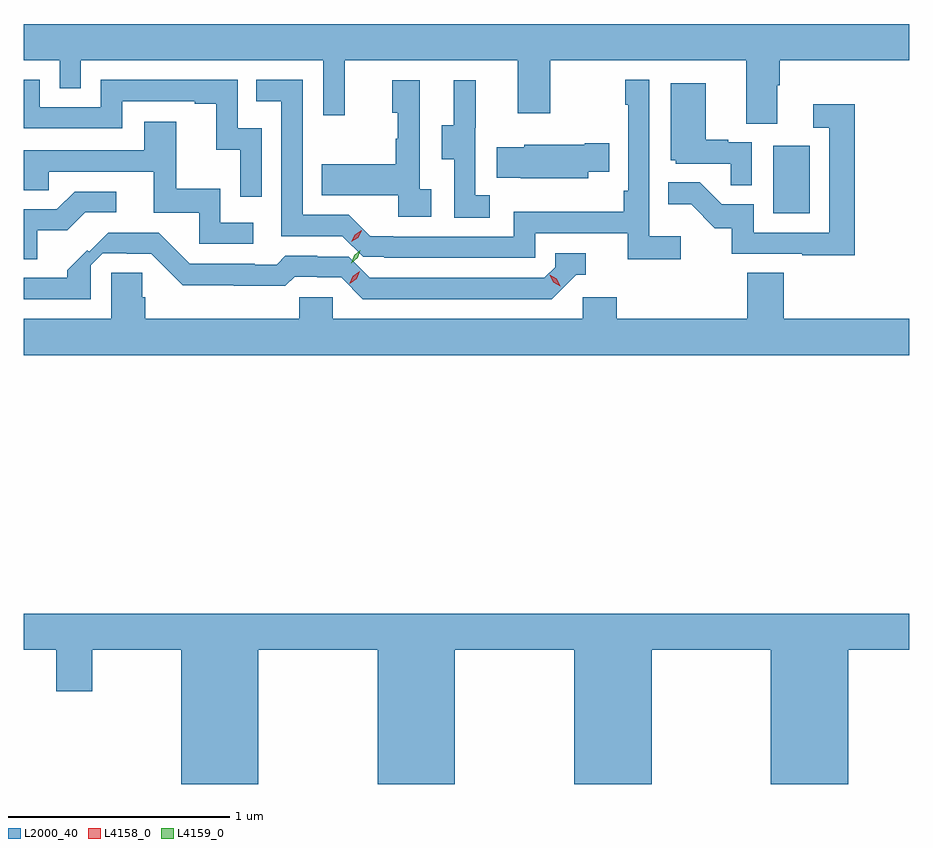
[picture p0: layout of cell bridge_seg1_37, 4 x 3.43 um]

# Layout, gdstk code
import gdstk
lib = gdstk.Library(unit=1e-6, precision=1e-09)
def R(c, l, rs):  # rectangles x0, y0, x1, y1
    for r in rs: c.add(gdstk.rectangle(r[:2], r[2:], *l))
def P(c, l, *ps):  # polygons
    for p in ps: c.add(gdstk.Polygon(p, *l))
L2000_40 = (2000, 40)
L4158_0 = (4158, 0)
L4159_0 = (4159, 0)

bridge_seg1_37 = lib.new_cell('bridge_seg1_37')
R(bridge_seg1_37, L2000_40, [(1139.942,504.42,1140.106,504.727)])
P(bridge_seg1_37, L2000_40, [(1139.959,505),(1139.972,505),(1139.972,505.112),(1140.556,505.112),(1140.556,505.276),(1136.556,505.276),(1136.556,505.112),(1136.718,505.112),(1136.718,504.985),(1136.814,504.985),(1136.814,505.112),(1137.909,505.112),(1137.909,504.864),(1138.007,504.864),(1138.007,505.112),(1138.787,505.112),(1138.787,504.873),(1138.935,504.873),(1138.935,505.112),(1139.819,505.112),(1139.819,504.826),(1139.959,504.826)],
  [(1139.524,504.316),(1139.382,504.316),(1139.382,505.024),(1139.274,505.024),(1139.274,504.911),(1139.286,504.911),(1139.286,504.523),(1139.266,504.523),(1139.266,504.427),(1138.77,504.427),(1138.77,504.315),(1138.226,504.315),(1138.226,504.317),(1138.12,504.317),(1138.023,504.414),(1137.816,504.414),(1137.816,505.023),(1137.607,505.023),(1137.607,504.927),(1137.72,504.927),(1137.72,504.318),(1137.995,504.318),(1138.089,504.224),(1138.185,504.224),(1138.185,504.219),(1138.866,504.219),(1138.866,504.33),(1139.285,504.33),(1139.285,504.214),(1139.524,504.214)],
  [(1137.63,504.804),(1137.522,504.804),(1137.522,505.023),(1136.904,505.023),(1136.904,504.9),(1136.628,504.9),(1136.628,505.023),(1136.556,505.023),(1136.556,504.804),(1137,504.804),(1137,504.927),(1137.329,504.927),(1137.329,504.915),(1137.425,504.915),(1137.425,504.707),(1137.534,504.707),(1137.534,504.495),(1137.63,504.495)],
  [(1138.396,504.53),(1138.344,504.53),(1138.344,505.021),(1138.22,505.021),(1138.22,504.876),(1138.246,504.876),(1138.246,504.758),(1138.236,504.758),(1138.236,504.643),(1137.901,504.643),(1137.901,504.503),(1138.247,504.503),(1138.247,504.404),(1138.396,504.404)],
  [(1138.66,504.503),(1138.596,504.503),(1138.596,504.807),(1138.598,504.807),(1138.598,505.021),(1138.499,505.021),(1138.499,504.819),(1138.445,504.819),(1138.445,504.664),(1138.5,504.664),(1138.5,504.4),(1138.66,504.4)],
  [(1139.844,504.741),(1139.738,504.741),(1139.738,504.754),(1139.638,504.754),(1139.638,505.009),(1139.48,505.009),(1139.48,504.66),(1139.502,504.66),(1139.502,504.645),(1139.749,504.645),(1139.749,504.547),(1139.844,504.547)],
  [(1140.311,504.913),(1140.123,504.913),(1140.123,504.807),(1140.195,504.807),(1140.195,504.333),(1139.853,504.333),(1139.853,504.462),(1139.709,504.462),(1139.611,504.56),(1139.467,504.56),(1139.467,504.461),(1139.571,504.461),(1139.678,504.354),(1139.755,504.354),(1139.755,504.237),(1140.073,504.237),(1140.073,504.232),(1140.311,504.232)],
  [(1137.592,504.378),(1137.444,504.378),(1137.444,504.532),(1137.245,504.532),(1137.245,504.835),(1137.101,504.835),(1137.101,504.705),(1136.556,504.705),(1136.556,504.525),(1136.669,504.525),(1136.669,504.609),(1137.143,504.609),(1137.143,504.423),(1137.348,504.423),(1137.348,504.282),(1137.592,504.282)],
  [(1139.107,504.608),(1139.201,504.608),(1139.201,504.738),(1139.09,504.738),(1139.09,504.73),(1138.818,504.73),(1138.818,504.718),(1138.693,504.718),(1138.693,504.581),(1138.801,504.581),(1138.801,504.578),(1139.107,504.578)],
  [(1136.617,504.344),(1136.751,504.344),(1136.833,504.426),(1136.974,504.426),(1136.974,504.519),(1136.786,504.519),(1136.705,504.438),(1136.556,504.438),(1136.556,504.214),(1136.617,504.214)],
  [(1136.859,504.186),(1136.913,504.24),(1137.021,504.24),(1137.021,504.237),(1137.132,504.237),(1137.274,504.095),(1137.504,504.095),(1137.504,504.093),(1137.737,504.093),(1137.779,504.135),(1137.882,504.135),(1137.882,504.132),(1137.989,504.132),(1138.088,504.033),(1138.941,504.033),(1139.052,504.144),(1139.095,504.144),(1139.095,504.24),(1138.956,504.24),(1138.956,504.177),(1138.908,504.129),(1138.119,504.129),(1138.023,504.224),(1137.882,504.224),(1137.882,504.228),(1137.737,504.228),(1137.698,504.189),(1137.599,504.189),(1137.599,504.192),(1137.306,504.192),(1137.165,504.333),(1136.938,504.333),(1136.851,504.246),(1136.842,504.254),(1136.751,504.163),(1136.751,504.129),(1136.556,504.129),(1136.556,504.033),(1136.859,504.033)],
  [(1140.556,503.944),(1139.99,503.944),(1139.99,504.152),(1139.825,504.152),(1139.825,503.944),(1139.234,503.944),(1139.234,504.042),(1139.082,504.042),(1139.082,503.944),(1137.951,503.944),(1137.951,504.042),(1137.801,504.042),(1137.801,503.944),(1137.104,503.944),(1137.104,504.042),(1137.09,504.042),(1137.09,504.152),(1136.951,504.152),(1136.951,503.944),(1136.556,503.944),(1136.556,503.78),(1140.556,503.78)],
  [(1137.616,502.448),(1138.154,502.448),(1138.154,501.842),(1138.504,501.842),(1138.504,502.448),(1139.042,502.448),(1139.042,501.842),(1139.392,501.842),(1139.392,502.448),(1139.93,502.448),(1139.93,501.842),(1140.28,501.842),(1140.28,502.448),(1140.556,502.448),(1140.556,502.612),(1136.556,502.612),(1136.556,502.448),(1136.702,502.448),(1136.702,502.26),(1136.866,502.26),(1136.866,502.448),(1137.266,502.448),(1137.266,501.842),(1137.616,501.842)])
P(bridge_seg1_37, L4158_0, [(1138.028,504.103),(1138.028,504.104),(1138.043,504.137),(1138.074,504.158),(1138.074,504.158),(1138.074,504.158),(1138.059,504.124),(1138.028,504.103)],
  [(1138.979,504.091),(1138.948,504.11),(1138.932,504.143),(1138.932,504.143),(1138.932,504.143),(1138.963,504.124),(1138.98,504.091),(1138.98,504.091)],
  [(1138.036,504.291),(1138.036,504.291),(1138.052,504.324),(1138.082,504.343),(1138.083,504.343),(1138.083,504.343),(1138.067,504.31),(1138.036,504.291)])
P(bridge_seg1_37, L4159_0, [(1138.036,504.196),(1138.036,504.196),(1138.048,504.23),(1138.075,504.253),(1138.076,504.253),(1138.076,504.253),(1138.064,504.219),(1138.036,504.196)])

lib.write_gds('bridge_seg1_37.gds')
